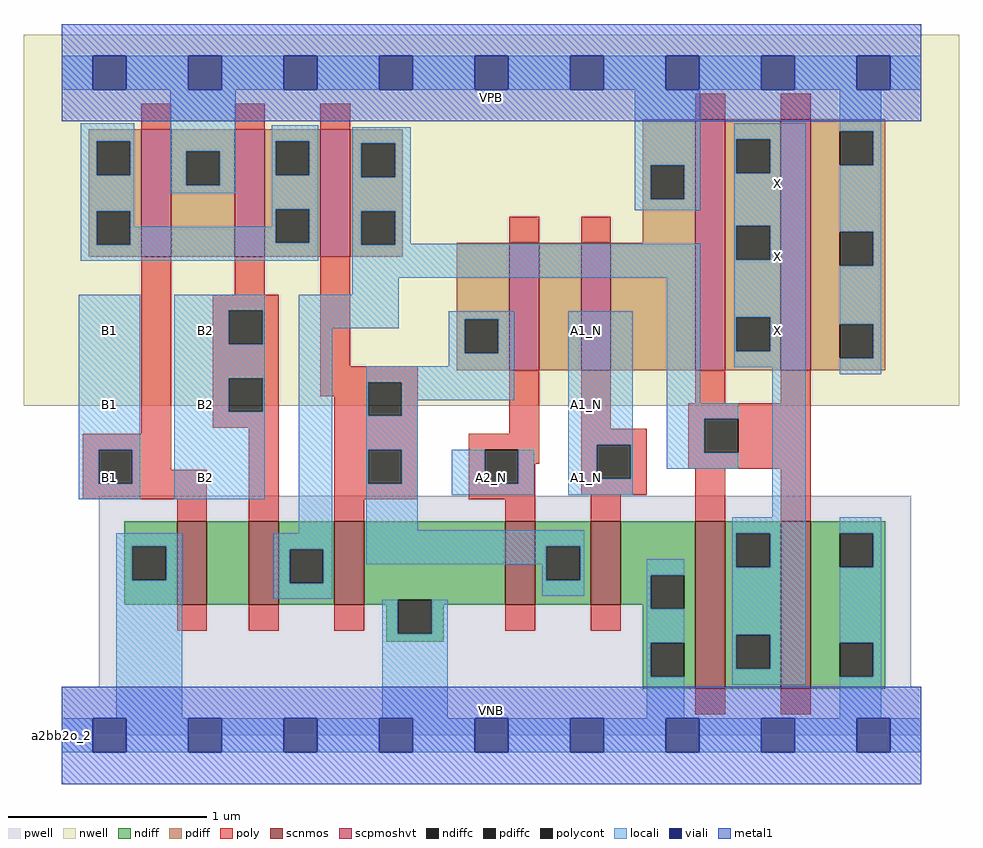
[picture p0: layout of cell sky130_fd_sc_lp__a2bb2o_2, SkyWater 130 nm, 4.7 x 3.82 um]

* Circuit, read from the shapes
.subckt sky130_fd_sc_lp__a2bb2o_2 A1_N A2_N B1 B2 VGND VNB VPB VPWR X
XM1 n1 B1 VGND VNB sky130_fd_pr__nfet_01v8 w=0.42 l=0.15
XM2 n2 B2 n1 VNB sky130_fd_pr__nfet_01v8 w=0.42 l=0.15
XM3 VGND n3 n2 VNB sky130_fd_pr__nfet_01v8 w=0.42 l=0.15
XM4 n3 A2_N VGND VNB sky130_fd_pr__nfet_01v8 w=0.42 l=0.15
XM5 VGND A1_N n3 VNB sky130_fd_pr__nfet_01v8 w=0.42 l=0.15
XM6 X n2 VGND VNB sky130_fd_pr__nfet_01v8 w=0.84 l=0.15 m=2
XM7 VPWR B1 n4 VPB sky130_fd_pr__pfet_01v8_hvt w=0.64 l=0.15
XM8 n4 B2 VPWR VPB sky130_fd_pr__pfet_01v8_hvt w=0.64 l=0.15
XM9 n2 n3 n4 VPB sky130_fd_pr__pfet_01v8_hvt w=0.64 l=0.15
XM10 n5 A2_N n3 VPB sky130_fd_pr__pfet_01v8_hvt w=0.64 l=0.15
XM11 VPWR A1_N n5 VPB sky130_fd_pr__pfet_01v8_hvt w=0.64 l=0.15
XM12 X n2 VPWR VPB sky130_fd_pr__pfet_01v8_hvt w=1.26 l=0.15 m=2
.ends

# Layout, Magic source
magic
tech sky130A
magscale 1 2
<< nwell >>
rect -38 331 902 704
<< pwell >>
rect 37 49 854 241
rect 0 0 864 49
<< scnmos >>
rect 116 131 146 215
rect 188 131 218 215
rect 274 131 304 215
rect 446 131 476 215
rect 532 131 562 215
rect 637 47 667 215
rect 723 47 753 215
<< scpmoshvt >>
rect 80 481 110 609
rect 174 481 204 609
rect 260 481 290 609
rect 450 367 480 495
rect 522 367 552 495
rect 637 367 667 619
rect 723 367 753 619
<< ndiff >>
rect 63 190 116 215
rect 63 156 71 190
rect 105 156 116 190
rect 63 131 116 156
rect 146 131 188 215
rect 218 187 274 215
rect 218 153 229 187
rect 263 153 274 187
rect 218 131 274 153
rect 304 136 446 215
rect 304 131 338 136
rect 326 102 338 131
rect 372 131 446 136
rect 476 190 532 215
rect 476 156 487 190
rect 521 156 532 190
rect 476 131 532 156
rect 562 161 637 215
rect 562 131 592 161
rect 372 102 384 131
rect 584 127 592 131
rect 626 127 637 161
rect 326 94 384 102
rect 584 93 637 127
rect 584 59 592 93
rect 626 59 637 93
rect 584 47 637 59
rect 667 203 723 215
rect 667 169 678 203
rect 712 169 723 203
rect 667 101 723 169
rect 667 67 678 101
rect 712 67 723 101
rect 667 47 723 67
rect 753 203 828 215
rect 753 169 782 203
rect 816 169 828 203
rect 753 93 828 169
rect 753 59 782 93
rect 816 59 828 93
rect 753 47 828 59
<< pdiff >>
rect 27 597 80 609
rect 27 563 35 597
rect 69 563 80 597
rect 27 527 80 563
rect 27 493 35 527
rect 69 493 80 527
rect 27 481 80 493
rect 110 587 174 609
rect 110 553 125 587
rect 159 553 174 587
rect 110 481 174 553
rect 204 597 260 609
rect 204 563 215 597
rect 249 563 260 597
rect 204 529 260 563
rect 204 495 215 529
rect 249 495 260 529
rect 204 481 260 495
rect 290 595 343 609
rect 290 561 301 595
rect 335 561 343 595
rect 290 527 343 561
rect 290 493 301 527
rect 335 493 343 527
rect 584 573 637 619
rect 584 539 592 573
rect 626 539 637 573
rect 584 495 637 539
rect 290 481 343 493
rect 397 418 450 495
rect 397 384 405 418
rect 439 384 450 418
rect 397 367 450 384
rect 480 367 522 495
rect 552 367 637 495
rect 667 599 723 619
rect 667 565 678 599
rect 712 565 723 599
rect 667 512 723 565
rect 667 478 678 512
rect 712 478 723 512
rect 667 420 723 478
rect 667 386 678 420
rect 712 386 723 420
rect 667 367 723 386
rect 753 607 828 619
rect 753 573 782 607
rect 816 573 828 607
rect 753 506 828 573
rect 753 472 782 506
rect 816 472 828 506
rect 753 413 828 472
rect 753 379 782 413
rect 816 379 828 413
rect 753 367 828 379
<< ndiffc >>
rect 71 156 105 190
rect 229 153 263 187
rect 338 102 372 136
rect 487 156 521 190
rect 592 127 626 161
rect 592 59 626 93
rect 678 169 712 203
rect 678 67 712 101
rect 782 169 816 203
rect 782 59 816 93
<< pdiffc >>
rect 35 563 69 597
rect 35 493 69 527
rect 125 553 159 587
rect 215 563 249 597
rect 215 495 249 529
rect 301 561 335 595
rect 301 493 335 527
rect 592 539 626 573
rect 405 384 439 418
rect 678 565 712 599
rect 678 478 712 512
rect 678 386 712 420
rect 782 573 816 607
rect 782 472 816 506
rect 782 379 816 413
<< poly >>
rect 80 609 110 635
rect 174 609 204 635
rect 260 609 290 635
rect 637 619 667 645
rect 723 619 753 645
rect 450 495 480 521
rect 522 495 552 521
rect 80 303 110 481
rect 174 443 204 481
rect 152 427 218 443
rect 152 393 168 427
rect 202 393 218 427
rect 152 359 218 393
rect 152 325 168 359
rect 202 325 218 359
rect 260 371 290 481
rect 260 355 358 371
rect 260 341 308 355
rect 152 309 218 325
rect 21 287 110 303
rect 21 253 37 287
rect 71 267 110 287
rect 71 253 146 267
rect 21 237 146 253
rect 116 215 146 237
rect 188 215 218 309
rect 274 321 308 341
rect 342 321 358 355
rect 274 287 358 321
rect 450 303 480 367
rect 274 253 308 287
rect 342 253 358 287
rect 274 237 358 253
rect 409 287 480 303
rect 409 253 425 287
rect 459 273 480 287
rect 522 308 552 367
rect 637 334 667 367
rect 723 334 753 367
rect 630 318 753 334
rect 522 292 588 308
rect 459 253 476 273
rect 409 237 476 253
rect 522 258 538 292
rect 572 258 588 292
rect 630 284 646 318
rect 680 284 753 318
rect 630 268 753 284
rect 522 242 588 258
rect 274 215 304 237
rect 446 215 476 237
rect 532 215 562 242
rect 637 215 667 268
rect 723 215 753 268
rect 116 105 146 131
rect 188 105 218 131
rect 274 105 304 131
rect 446 105 476 131
rect 532 105 562 131
rect 637 21 667 47
rect 723 21 753 47
<< polycont >>
rect 168 393 202 427
rect 168 325 202 359
rect 37 253 71 287
rect 308 321 342 355
rect 308 253 342 287
rect 425 253 459 287
rect 538 258 572 292
rect 646 284 680 318
<< locali >>
rect 0 649 31 683
rect 65 649 127 683
rect 161 649 223 683
rect 257 649 319 683
rect 353 649 415 683
rect 449 649 511 683
rect 545 649 607 683
rect 641 649 703 683
rect 737 649 799 683
rect 833 649 864 683
rect 19 597 73 615
rect 19 563 35 597
rect 69 563 73 597
rect 19 527 73 563
rect 109 587 175 649
rect 109 553 125 587
rect 159 553 175 587
rect 109 545 175 553
rect 211 597 258 613
rect 211 563 215 597
rect 249 563 258 597
rect 19 493 35 527
rect 69 511 73 527
rect 211 529 258 563
rect 211 511 215 529
rect 69 495 215 511
rect 249 495 258 529
rect 69 493 258 495
rect 19 477 258 493
rect 292 595 351 611
rect 292 561 301 595
rect 335 561 351 595
rect 292 527 351 561
rect 576 573 642 649
rect 576 539 592 573
rect 626 539 642 573
rect 576 528 642 539
rect 676 599 748 615
rect 676 565 678 599
rect 712 565 748 599
rect 292 493 301 527
rect 335 494 351 527
rect 676 512 748 565
rect 335 493 642 494
rect 292 460 642 493
rect 292 443 339 460
rect 17 287 79 443
rect 17 253 37 287
rect 71 253 79 287
rect 17 237 79 253
rect 113 427 204 443
rect 113 393 168 427
rect 202 393 204 427
rect 113 359 204 393
rect 113 325 168 359
rect 202 325 204 359
rect 113 237 204 325
rect 238 409 339 443
rect 389 418 455 426
rect 238 203 272 409
rect 389 384 405 418
rect 439 384 455 418
rect 389 371 455 384
rect 55 190 121 203
rect 55 156 71 190
rect 105 156 121 190
rect 55 17 121 156
rect 213 187 272 203
rect 213 153 229 187
rect 263 153 272 187
rect 306 355 455 371
rect 306 321 308 355
rect 342 337 455 355
rect 342 321 358 337
rect 306 287 358 321
rect 509 292 574 426
rect 306 253 308 287
rect 342 253 358 287
rect 306 206 358 253
rect 392 253 425 287
rect 459 253 475 287
rect 392 242 475 253
rect 509 258 538 292
rect 572 258 574 292
rect 608 334 642 460
rect 676 478 678 512
rect 712 478 748 512
rect 676 420 748 478
rect 676 386 678 420
rect 712 386 748 420
rect 676 370 748 386
rect 608 318 680 334
rect 608 284 646 318
rect 608 268 680 284
rect 509 242 574 258
rect 714 219 748 370
rect 782 607 824 649
rect 816 573 824 607
rect 782 506 824 573
rect 816 472 824 506
rect 782 413 824 472
rect 816 379 824 413
rect 782 363 824 379
rect 306 190 525 206
rect 306 172 487 190
rect 213 137 272 153
rect 483 156 487 172
rect 521 156 525 190
rect 674 203 748 219
rect 483 140 525 156
rect 588 161 626 177
rect 322 102 338 136
rect 372 102 388 136
rect 322 17 388 102
rect 588 127 592 161
rect 588 93 626 127
rect 588 59 592 93
rect 588 17 626 59
rect 674 169 678 203
rect 712 169 748 203
rect 674 101 748 169
rect 674 67 678 101
rect 712 67 748 101
rect 674 51 748 67
rect 782 203 824 219
rect 816 169 824 203
rect 782 93 824 169
rect 816 59 824 93
rect 782 17 824 59
rect 0 -17 31 17
rect 65 -17 127 17
rect 161 -17 223 17
rect 257 -17 319 17
rect 353 -17 415 17
rect 449 -17 511 17
rect 545 -17 607 17
rect 641 -17 703 17
rect 737 -17 799 17
rect 833 -17 864 17
<< viali >>
rect 31 649 65 683
rect 127 649 161 683
rect 223 649 257 683
rect 319 649 353 683
rect 415 649 449 683
rect 511 649 545 683
rect 607 649 641 683
rect 703 649 737 683
rect 799 649 833 683
rect 31 -17 65 17
rect 127 -17 161 17
rect 223 -17 257 17
rect 319 -17 353 17
rect 415 -17 449 17
rect 511 -17 545 17
rect 607 -17 641 17
rect 703 -17 737 17
rect 799 -17 833 17
<< metal1 >>
rect 0 683 864 715
rect 0 649 31 683
rect 65 649 127 683
rect 161 649 223 683
rect 257 649 319 683
rect 353 649 415 683
rect 449 649 511 683
rect 545 649 607 683
rect 641 649 703 683
rect 737 649 799 683
rect 833 649 864 683
rect 0 617 864 649
rect 0 17 864 49
rect 0 -17 31 17
rect 65 -17 127 17
rect 161 -17 223 17
rect 257 -17 319 17
rect 353 -17 415 17
rect 449 -17 511 17
rect 545 -17 607 17
rect 641 -17 703 17
rect 737 -17 799 17
rect 833 -17 864 17
rect 0 -49 864 -17
<< labels >>
flabel pwell s 0 0 864 49 0 FreeSans 200 0 0 0 VNB
port 6 nsew ground bidirectional
flabel nwell s 0 617 864 666 0 FreeSans 200 0 0 0 VPB
port 7 nsew power bidirectional
rlabel comment s 0 0 0 0 4 a2bb2o_2
flabel metal1 s 0 617 864 666 0 FreeSans 340 0 0 0 VPWR
port 8 nsew power bidirectional
flabel metal1 s 0 0 864 49 0 FreeSans 340 0 0 0 VGND
port 5 nsew ground bidirectional
flabel locali s 703 390 737 424 0 FreeSans 340 0 0 0 X
port 9 nsew signal output
flabel locali s 703 464 737 498 0 FreeSans 340 0 0 0 X
port 9 nsew signal output
flabel locali s 703 538 737 572 0 FreeSans 340 0 0 0 X
port 9 nsew signal output
flabel locali s 511 242 545 276 0 FreeSans 340 0 0 0 A1_N
port 1 nsew signal input
flabel locali s 511 316 545 350 0 FreeSans 340 0 0 0 A1_N
port 1 nsew signal input
flabel locali s 511 390 545 424 0 FreeSans 340 0 0 0 A1_N
port 1 nsew signal input
flabel locali s 415 242 449 276 0 FreeSans 340 0 0 0 A2_N
port 2 nsew signal input
flabel locali s 127 242 161 276 0 FreeSans 340 0 0 0 B2
port 4 nsew signal input
flabel locali s 127 316 161 350 0 FreeSans 340 0 0 0 B2
port 4 nsew signal input
flabel locali s 127 390 161 424 0 FreeSans 340 0 0 0 B2
port 4 nsew signal input
flabel locali s 31 242 65 276 0 FreeSans 340 0 0 0 B1
port 3 nsew signal input
flabel locali s 31 316 65 350 0 FreeSans 340 0 0 0 B1
port 3 nsew signal input
flabel locali s 31 390 65 424 0 FreeSans 340 0 0 0 B1
port 3 nsew signal input
<< properties >>
string LEFsite unit
string LEFclass CORE
string FIXED_BBOX 0 0 864 666
string GDS_FILE $PDKPATH/libs.ref/sky130_fd_sc_lp/gds/sky130_fd_sc_lp.gds
string LEFsymmetry X Y R90
string GDS_END 5911858
string GDS_START 5903446
<< end >>
